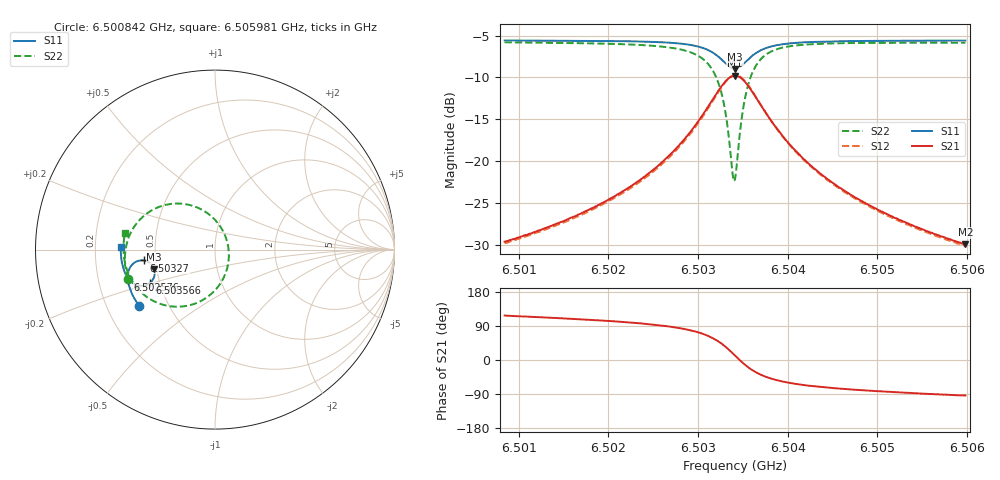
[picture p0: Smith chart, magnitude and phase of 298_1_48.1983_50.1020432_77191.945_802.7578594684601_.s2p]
#  HZ  S  RI  R  50.00
! Rohde & Schwarz Vector Network Analyzer
! Rohde-Schwarz,ZNB20-2Port,1311601062101988,3.16
! Created: UTC 3/20/2024, 11:49:21 AM
! freq[Hz]  re:S11  im:S11  re:S21  im:S21  re:S12  im:S12  re:S22  im:S22
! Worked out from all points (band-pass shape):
!   401 points, 6.500842 GHz to 6.505981 GHz, reference 50 ohm
!   highest |S21| = -9.78 dB at 6.503411 GHz (marker M1); lowest = -30.0 dB at 6.505981 GHz (marker M2)
!   |S21| within 3 dB of the highest: 6.503154 GHz to 6.503668 GHz (513.6 kHz wide, 0.0079 % of centre)
!   lowest |S11| = -9.0 dB at 6.503411 GHz (marker M3), VSWR 2.11, Z = 24.2 - j6.08 ohm
!   |S11| at or under -10 dB: nowhere
!   |S22| runs from -22.4 to -5.8 dB; largest |S21 - S12| = 0.011
!   S11 on the Smith chart (normalised r, x): 6.500842 GHz: 0.34, -0.30; 6.502576 GHz: 0.33, -0.15; 6.50327 GHz: 0.43, -0.06; 6.503566 GHz: 0.44, -0.20; 6.505981 GHz: 0.31, +0.01
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6.5008417e9  -0.421 -0.3162  -0.0151 0.0292  -0.0133 0.0293  -0.4867 -0.1638
6.5017025e9  -0.4589 -0.2535  -0.0145 0.0466  -0.0121 0.0461  -0.5016 -0.074
6.5021779e9  -0.4761 -0.212  -0.0117 0.0657  -0.00869 0.0646  -0.4995 -0.00808
6.5025634e9  -0.4856 -0.1702  -0.00305 0.0947  0.000606 0.0925  -0.4812 0.0671
6.5025762e9  -0.4858 -0.1686  -0.00241 0.096  0.00105 0.0937  -0.4799 0.0701
6.5028204e9  -0.4851 -0.1334  0.0157 0.1289  0.0195 0.1252  -0.4417 0.1396
6.5030003e9  -0.4737 -0.1002  0.0505 0.1649  0.0534 0.1596  -0.3735 0.2055
6.5031673e9  -0.4392 -0.0672  0.1275 0.198  0.1288 0.1918  -0.2316 0.256
6.5032701e9  -0.3967 -0.0605  0.2125 0.1891  0.2126 0.1839  -0.0841 0.2279
6.5033215e9  -0.3714 -0.0691  0.2604 0.1611  0.2611 0.1567  -0.00449 0.1707
6.5033857e9  -0.3451 -0.0953  0.3074 0.098  0.3099 0.0932  0.0664 0.0492
6.5034114e9  -0.3388 -0.1097  0.3174 0.0661  0.3205 0.0605  0.0768 -0.0101
6.5034243e9  -0.337 -0.1173  0.3201 0.0496  0.3232 0.0434  0.0774 -0.0404
6.5035014e9  -0.343 -0.1616  0.3029 -0.0438  0.3049 -0.0535  0.0197 -0.2036
6.5035656e9  -0.364 -0.187  0.2606 -0.097  0.2595 -0.1079  -0.0756 -0.2847
6.5036684e9  -0.4029 -0.2017  0.187 -0.1326  0.1819 -0.1417  -0.2234 -0.3181
6.5038354e9  -0.4486 -0.192  0.1067 -0.1296  0.1 -0.1345  -0.3682 -0.2718
6.5040153e9  -0.4756 -0.1707  0.0629 -0.11  0.0569 -0.1121  -0.439 -0.2078
6.5042723e9  -0.4962 -0.1406  0.0335 -0.086  0.0289 -0.0866  -0.4817 -0.1363
6.5046577e9  -0.5117 -0.101  0.0148 -0.0635  0.0115 -0.0629  -0.5039 -0.062
6.5051331e9  -0.5212 -0.0574  0.00499 -0.0471  0.0027 -0.0464  -0.5099 0.00394
6.5059812e9  -0.5259 0.0141  -0.00209 -0.0317  -0.00337 -0.0307  -0.5017 0.0923
